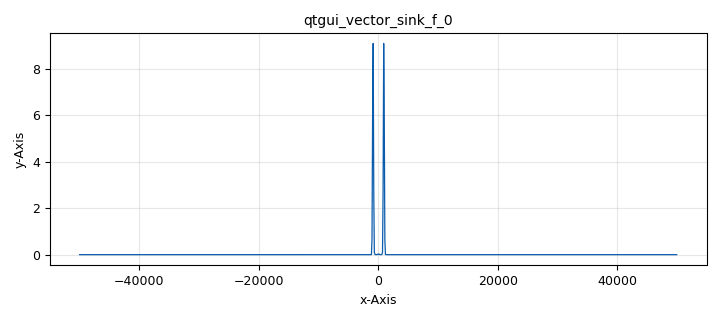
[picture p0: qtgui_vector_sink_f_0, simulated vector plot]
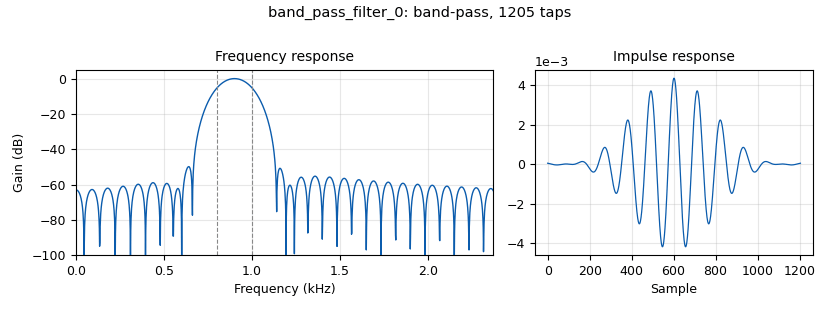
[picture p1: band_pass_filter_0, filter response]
options:
  parameters:
    author: vivelpanel
    generate_options: qt_gui
    id: wvu_spectrometer_1
    output_language: python
    title: signal source
  states: {}

blocks:
- name: amplitude1
  id: variable_qtgui_range
  parameters:
    label: Volume
    start: '-1'
    step: '.01'
    stop: '1'
    value: '-1'
  states: {}
- name: amplitude2
  id: variable_qtgui_range
  parameters:
    label: Volume
    start: '-1'
    step: '.01'
    stop: '1'
    value: '.111'
  states: {}
- name: amplitude3
  id: variable_qtgui_range
  parameters:
    label: Volume
    start: '-1'
    step: '.01'
    stop: '1'
    value: '-.04'
  states: {}
- name: amplitude4
  id: variable_qtgui_range
  parameters:
    label: Volume
    start: '-1'
    step: '.01'
    stop: '1'
    value: '.02'
  states: {}
- name: amplitude5
  id: variable_qtgui_range
  parameters:
    label: Volume
    start: '-1'
    step: '.01'
    stop: '1'
    value: '-.012'
  states: {}
- name: amplitude6
  id: variable_qtgui_range
  parameters:
    label: Volume
    start: '-1'
    step: '.01'
    stop: '1'
    value: '.008'
  states: {}
- name: freq1
  id: variable_qtgui_range
  parameters:
    label: Frequency
    start: '0'
    step: '100'
    stop: '10000'
    value: '100'
  states: {}
- name: freq2
  id: variable_qtgui_range
  parameters:
    label: Frequency
    rangeType: int
    start: '0'
    step: '100'
    stop: '10000'
    value: '300'
  states: {}
- name: freq3
  id: variable_qtgui_range
  parameters:
    label: Frequency
    rangeType: int
    start: '0'
    step: '100'
    stop: '10000'
    value: '500'
  states: {}
- name: freq4
  id: variable_qtgui_range
  parameters:
    label: Frequency
    start: '0'
    step: '100'
    stop: '10000'
    value: '700'
  states: {}
- name: freq5
  id: variable_qtgui_range
  parameters:
    label: Frequency
    rangeType: int
    start: '0'
    step: '100'
    stop: '10000'
    value: '900'
  states: {}
- name: freq6
  id: variable_qtgui_range
  parameters:
    label: Frequency
    rangeType: int
    start: '0'
    step: '100'
    stop: '10000'
    value: '1100'
  states: {}
- name: samp_rate
  id: variable
  parameters:
    value: '100000'
  states: {}
- name: analog_sig_source_x_0
  id: analog_sig_source_x
  parameters:
    amp: amplitude1
    freq: freq1
    offset: '0'
    phase: '0'
    samp_rate: samp_rate
    type: float
    waveform: analog.GR_SIN_WAVE
  states: {}
- name: analog_sig_source_x_0_0
  id: analog_sig_source_x
  parameters:
    amp: amplitude2
    freq: freq2
    offset: '0'
    phase: '0'
    samp_rate: samp_rate
    type: float
    waveform: analog.GR_SIN_WAVE
  states: {}
- name: analog_sig_source_x_0_0_0
  id: analog_sig_source_x
  parameters:
    amp: amplitude3
    freq: freq3
    offset: '0'
    phase: '0'
    samp_rate: samp_rate
    type: float
    waveform: analog.GR_SIN_WAVE
  states: {}
- name: analog_sig_source_x_0_0_0_0
  id: analog_sig_source_x
  parameters:
    amp: amplitude6
    freq: freq6
    offset: '0'
    phase: '0'
    samp_rate: samp_rate
    type: float
    waveform: analog.GR_SIN_WAVE
  states: {}
- name: analog_sig_source_x_0_0_1
  id: analog_sig_source_x
  parameters:
    amp: amplitude5
    freq: freq5
    offset: '0'
    phase: '0'
    samp_rate: samp_rate
    type: float
    waveform: analog.GR_SIN_WAVE
  states: {}
- name: analog_sig_source_x_0_1
  id: analog_sig_source_x
  parameters:
    amp: amplitude4
    freq: freq4
    offset: '0'
    phase: '0'
    samp_rate: samp_rate
    type: float
    waveform: analog.GR_SIN_WAVE
  states: {}
- name: band_pass_filter_0
  id: band_pass_filter
  parameters:
    decim: '1'
    gain: '1'
    high_cutoff_freq: '1000'
    low_cutoff_freq: '800'
    samp_rate: samp_rate
    type: fir_filter_fff
    width: '200'
    win: window.WIN_HAMMING
  states: {}
- name: blocks_add_xx_0
  id: blocks_add_xx
  parameters:
    num_inputs: '6'
    type: float
  states: {}
- name: blocks_complex_to_real_0
  id: blocks_complex_to_real
  parameters:
    vlen: '1024'
  states: {}
- name: blocks_float_to_complex_0
  id: blocks_float_to_complex
  parameters: {}
  states: {}
- name: blocks_multiply_conjugate_cc_0
  id: blocks_multiply_conjugate_cc
  parameters:
    vlen: '1024'
  states: {}
- name: blocks_stream_to_vector_0
  id: blocks_stream_to_vector
  parameters:
    num_items: '1024'
    type: complex
  states: {}
- name: blocks_throttle_0
  id: blocks_throttle
  parameters:
    samples_per_second: samp_rate
    type: complex
  states: {}
- name: fft_vxx_0
  id: fft_vxx
  parameters:
    fft_size: '1024'
    forward: 'True'
    shift: 'True'
    type: complex
    window: window.blackmanharris(1024)
  states: {}
- name: high_pass_filter_0
  id: high_pass_filter
  parameters:
    cutoff_freq: '800'
    decim: '1'
    gain: '1'
    samp_rate: samp_rate
    type: fir_filter_fff
    width: '600'
    win: window.WIN_HAMMING
  states: {state: disabled}
- name: low_pass_filter_0
  id: low_pass_filter
  parameters:
    cutoff_freq: '1000'
    decim: '1'
    gain: '1'
    samp_rate: samp_rate
    type: fir_filter_fff
    width: '200'
    win: window.WIN_HAMMING
  states: {state: disabled}
- name: qtgui_vector_sink_f_0
  id: qtgui_vector_sink_f
  parameters:
    autoscale: 'True'
    average: '0.05'
    grid: 'True'
    vlen: '1024'
    x_start: '-samp_rate/2'
    x_step: (samp_rate/1024)
  states: {}

connections:
- [analog_sig_source_x_0, '0', blocks_add_xx_0, '0']
- [analog_sig_source_x_0_0, '0', blocks_add_xx_0, '1']
- [analog_sig_source_x_0_0_0, '0', blocks_add_xx_0, '2']
- [analog_sig_source_x_0_0_0_0, '0', blocks_add_xx_0, '5']
- [analog_sig_source_x_0_0_1, '0', blocks_add_xx_0, '4']
- [analog_sig_source_x_0_1, '0', blocks_add_xx_0, '3']
- [band_pass_filter_0, '0', blocks_float_to_complex_0, '0']
- [band_pass_filter_0, '0', blocks_float_to_complex_0, '1']
- [blocks_add_xx_0, '0', band_pass_filter_0, '0']
- [blocks_complex_to_real_0, '0', qtgui_vector_sink_f_0, '0']
- [blocks_float_to_complex_0, '0', blocks_throttle_0, '0']
- [blocks_multiply_conjugate_cc_0, '0', blocks_complex_to_real_0, '0']
- [blocks_stream_to_vector_0, '0', fft_vxx_0, '0']
- [blocks_throttle_0, '0', blocks_stream_to_vector_0, '0']
- [fft_vxx_0, '0', blocks_multiply_conjugate_cc_0, '0']
- [fft_vxx_0, '0', blocks_multiply_conjugate_cc_0, '1']

metadata:
  file_format: 1
